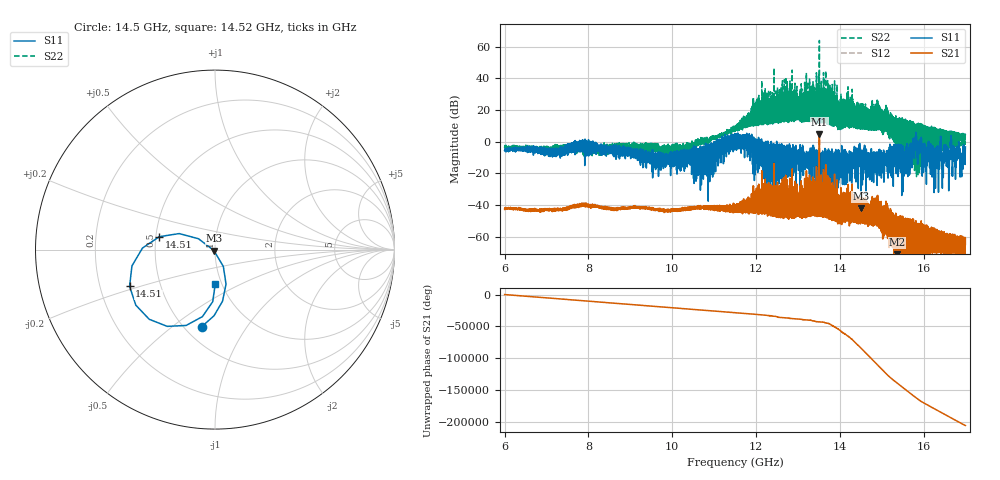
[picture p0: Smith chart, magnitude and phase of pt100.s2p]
#  HZ  S  RI  R  50.00
! Rohde & Schwarz Vector Network Analyzer
! Rohde-Schwarz,ZNA67-2Port,1332450062101215,3.01
! Created: UTC 10/19/2026, 11:56:44 AM
! freq[Hz]  re:S11  im:S11  re:S21  im:S21  re:S12  im:S12  re:S22  im:S22
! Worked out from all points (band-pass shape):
!   11001 points, 6 GHz to 17 GHz, reference 50 ohm
!   highest |S21| = 4.63 dB at 13.51 GHz (marker M1); lowest = -79.6 dB at 15.37 GHz (marker M2)
!   |S21| within 3 dB of the highest: 13.51393 GHz to 13.51407 GHz (136 kHz wide, 0.00101 % of centre)
!   lowest |S11| = -42.0 dB at 14.5 GHz (marker M3), VSWR 1.02, Z = 49.4 - j0.497 ohm
!   |S11| at or under -10 dB: 13.46873 GHz to 13.49457 GHz (25.83 MHz wide, 0.192 % of centre); 13.92261 GHz to 13.94842 GHz (25.8 MHz wide, 0.185 % of centre); 16.44498 GHz to 16.47533 GHz (30.35 MHz wide, 0.184 % of centre) (the widest 3 of 508)
!   |S22| runs from -22.0 to 64.0 dB; largest |S21 - S12| = 0.1
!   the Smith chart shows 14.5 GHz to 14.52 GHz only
!   S11 on the Smith chart (normalised r, x): 14.5 GHz: 0.61, -0.64; 14.51 GHz: 0.52, +0.08; 14.51 GHz: 0.33, -0.18; 14.52 GHz: 0.93, -0.37
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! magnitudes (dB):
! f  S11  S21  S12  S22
! 6 GHz  -5.7  -42.5  -42.5  -3.9
! 7.184 GHz  -4.5  -43.1  -43.0  -2.6
! 7.834 GHz  -3.0  -40.7  -40.5  -4.5
! 9.667 GHz  -6.9  -42.5  -42.6  -2.2
! 10.73 GHz  -5.4  -41.8  -41.8  -1.0
! 11.5 GHz  4.9  -42.7  -42.7  7.8
! 12.59 GHz  -17.6  -48.1  -48.0  12.1
! 13.33 GHz  -12.3  -43.4  -43.2  16.5
! 13.51 GHz  -13.3  4.6  4.8  64.0
! 14.5 GHz  -7.2  -36.2  -36.3  23.2
! 14.5 GHz  -42.0  -44.5  -44.1  14.4
! 14.51 GHz  -9.9  -50.6  -50.5  8.4
! 14.51 GHz  -5.7  -35.1  -35.1  24.0
! 14.52 GHz  -14.4  -49.8  -49.8  8.8
! 15.17 GHz  -15.0  -57.5  -57.4  5.9
! 15.37 GHz  -17.7  -79.6  -79.3  -0.3
! 15.68 GHz  -2.6  -48.8  -48.9  13.4
! 15.8 GHz  -5.3  -75.0  -74.8  -17.8
! 16.23 GHz  -8.6  -61.8  -61.4  3.0
! 16.69 GHz  -16.5  -64.3  -64.2  0.7
! 16.91 GHz  -20.6  -64.0  -63.8  1.8
! 17 GHz  -3.4  -64.9  -64.6  2.5
